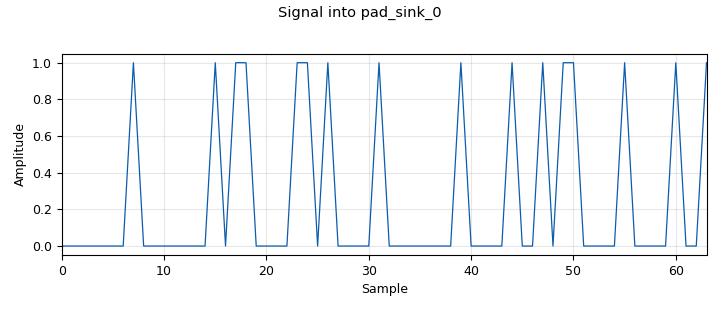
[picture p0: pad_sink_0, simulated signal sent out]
options:
  parameters:
    author: Jeff Cuenco
    category: Hierarchical Modulation
    description: Generates a header for a particular sample size (bytes) - needed for Header/Payload Demux
    generate_options: hb
    id: hier_hqam_hdr_gen
    output_language: python
    title: HQAM Header Generator
  states: {}

blocks:
- name: header_formatter
  id: variable
  parameters:
    value: digital.packet_header_default(header_len, len_tag_key,num_tag_key,1)
  states: {}
- name: header_len
  id: variable
  parameters:
    value: '32'
  states: {}
- name: len_tag_key
  id: variable
  parameters:
    value: '"packet_length"'
  states: {}
- name: num_tag_key
  id: variable
  parameters:
    value: '"packet_num"'
  states: {}
- name: analog_random_source_x_1
  id: analog_random_source_x
  parameters:
    max: '2'
    min: '0'
    num_samps: payload_len
    repeat: 'True'
    type: byte
  states: {}
- name: blocks_repack_bits_bb_0
  id: blocks_repack_bits_bb
  parameters:
    comment: Must do this, otherwise the header will be toooo long
    endianness: gr.GR_MSB_FIRST
    k: '1'
    l: '1'
    len_tag_key: len_tag_key
  states: {}
- name: blocks_stream_to_tagged_stream_0
  id: blocks_stream_to_tagged_stream
  parameters:
    len_tag_key: len_tag_key
    packet_len: header_len
    type: byte
  states: {}
- name: blocks_stream_to_tagged_stream_0_0_0
  id: blocks_stream_to_tagged_stream
  parameters:
    len_tag_key: len_tag_key
    packet_len: payload_len
    type: byte
  states: {}
- name: blocks_tag_gate_0
  id: blocks_tag_gate
  parameters:
    propagate_tags: 'False'
    type: byte
  states: {}
- name: digital_packet_headergenerator_bb_0_0
  id: digital_packet_headergenerator_bb
  parameters:
    header_formatter: header_formatter.formatter()
    len_tag_key: len_tag_key
  states: {}
- name: pad_sink_0
  id: pad_sink
  parameters:
    label: out
    type: byte
  states: {}
- name: payload_len
  id: parameter
  parameters:
    label: Payload Length
    type: intx
    value: '128'
  states: {}

connections:
- [analog_random_source_x_1, '0', blocks_stream_to_tagged_stream_0_0_0, '0']
- [blocks_repack_bits_bb_0, '0', pad_sink_0, '0']
- [blocks_stream_to_tagged_stream_0, '0', blocks_repack_bits_bb_0, '0']
- [blocks_stream_to_tagged_stream_0_0_0, '0', digital_packet_headergenerator_bb_0_0, '0']
- [blocks_tag_gate_0, '0', blocks_stream_to_tagged_stream_0, '0']
- [digital_packet_headergenerator_bb_0_0, '0', blocks_tag_gate_0, '0']

metadata:
  file_format: 1
